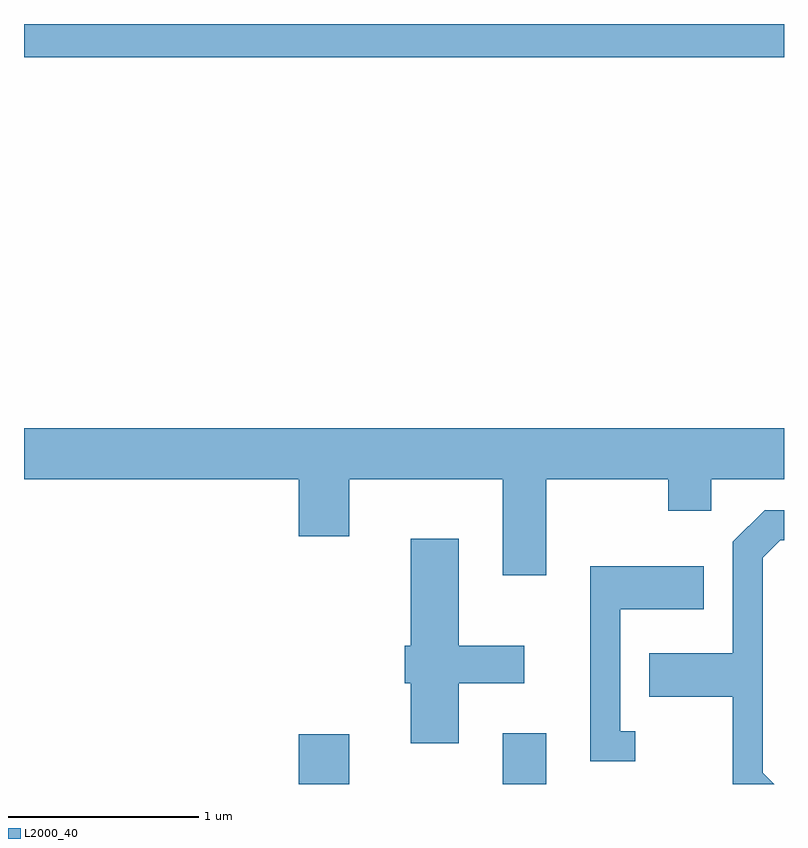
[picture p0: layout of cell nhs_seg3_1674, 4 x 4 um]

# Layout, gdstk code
import gdstk
lib = gdstk.Library(unit=1e-6, precision=1e-09)
def R(c, l, rs):  # rectangles x0, y0, x1, y1
    for r in rs: c.add(gdstk.rectangle(r[:2], r[2:], *l))
def P(c, l, *ps):  # polygons
    for p in ps: c.add(gdstk.Polygon(p, *l))
L2000_40 = (2000, 40)

nhs_seg3_1674 = lib.new_cell('nhs_seg3_1674')
R(nhs_seg3_1674, L2000_40, [(235.056,1199.892,235.324,1200.154), (236.131,1199.892,236.359,1200.159), (233.611,1203.716,237.611,1203.892)])
P(nhs_seg3_1674, L2000_40, [(236.359,1201.496),(237.001,1201.496),(237.001,1201.331),(237.229,1201.331),(237.229,1201.496),(237.611,1201.496),(237.611,1201.764),(233.611,1201.764),(233.611,1201.496),(235.056,1201.496),(235.056,1201.196),(235.324,1201.196),(235.324,1201.496),(236.131,1201.496),(236.131,1200.991),(236.359,1200.991)],
  [(237.499,1199.952),(237.499,1201.084),(237.592,1201.176),(237.611,1201.176),(237.611,1201.334),(237.509,1201.334),(237.341,1201.167),(237.341,1200.579),(236.901,1200.579),(236.901,1200.351),(237.341,1200.351),(237.341,1199.892),(237.559,1199.892)],
  [(235.899,1200.421),(236.244,1200.421),(236.244,1200.619),(235.899,1200.619),(235.899,1201.184),(235.646,1201.184),(235.646,1200.619),(235.616,1200.619),(235.616,1200.421),(235.646,1200.421),(235.646,1200.106),(235.899,1200.106)],
  [(236.828,1200.169),(236.749,1200.169),(236.749,1200.811),(237.189,1200.811),(237.189,1201.039),(236.591,1201.039),(236.591,1200.011),(236.828,1200.011)])

lib.write_gds('nhs_seg3_1674.gds')
